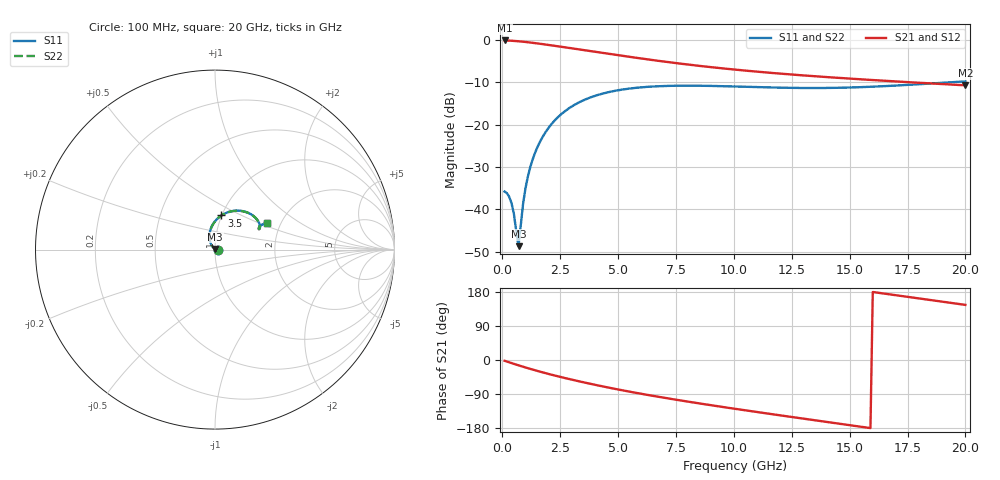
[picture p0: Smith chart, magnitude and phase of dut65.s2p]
! Touchstone file exported from HFSS 2024.1.0
!  File:  C:/UserFiles/LocalFiles/RDL_TSV_Batchsim/temp_RDL_TSV_65_1779410177.aedt
!  Generated:  08:51:31 AM May 22, 2026
!  Design:  RDL_TSV
!  Project:  temp_RDL_TSV_65_1779410177
!  Setup:  Setup1
!  Solution:  Sweep
! Variables:
!  dtsv = 14.71um
!  hbump = 3um
!  htsv = 77.74um
!  ldown = 667.04um
!  lrdl = 220.17um
!  p = 40
!  p1 = 53.14um
!  rhole = 10um
!  subl = 2881.8um
!  t = 450um
!  tdown = 4.12um
!  trdl = 4.66um
!  viad = 10um
!  wdown = 13.02um
!  wrdl = 21.25um
!  xbump = 18um
# GHz S MA R 50.000000
! Terminal data exported
! Port[1] = TM1_1_T1
! Port[2] = TM1_4_T1
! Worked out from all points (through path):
!   200 points, 100 MHz to 20 GHz, reference 50 ohm
!   highest |S21| = -0.15 dB at 100 MHz (marker M1); lowest = -10.7 dB at 20 GHz (marker M2)
!   group delay of S21, straight-line fit = 27.7 ps
!   lowest |S11| = -48.7 dB at 700 MHz (marker M3), VSWR 1.01, Z = 50.2 + j0.337 ohm
!   |S11| at or under -10 dB: start of sweep to 19.4 GHz
!   |S22| runs from -48.6 to -9.8 dB; largest |S21 - S12| = 1.3e-14
!   S11 on the Smith chart (normalised r, x): 100 MHz: 1.03, -0.00; 3.5 GHz: 1.00, +0.39; 20 GHz: 1.70, +0.56
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0.1  0.01626 -0.2  0.9829 -2.1  0.9829 -2.1  0.01626 -0.2
! Gamma 0 0 0 0
! Port Impedance 50 0 50 0
0.3  0.01408 -1.7  0.9785 -6.2  0.9785 -6.2  0.01409 -1.7
0.4  0.01185 -1.6  0.9752 -8.2  0.9752 -8.2  0.01185 -1.6
0.5  0.008915 1.6  0.9713 -10.2  0.9713 -10.2  0.008922 1.6
0.7  0.003693 65.6  0.9617 -14.1  0.9617 -14.1  0.003694 65.4
0.9  0.01176 125.7  0.9502 -17.9  0.9502 -17.9  0.01174 125.7
1  0.01771 128.7  0.9438 -19.8  0.9438 -19.8  0.01768 128.7
1.1  0.02415 128.7  0.9371 -21.6  0.9371 -21.6  0.02412 128.7
1.2  0.03098 127.5  0.9302 -23.4  0.9302 -23.4  0.03093 127.5
1.5  0.053 121.3  0.9083 -28.6  0.9083 -28.6  0.05293 121.3
1.9  0.08403 111.8  0.8778 -35.2  0.8778 -35.2  0.08392 111.8
2.3  0.1148 102.6  0.8471 -41.5  0.8471 -41.5  0.1146 102.6
2.8  0.1506 92.1  0.8094 -49.0  0.8094 -49.0  0.1504 92.1
3.5  0.1935 79.4  0.7584 -58.8  0.7584 -58.8  0.1932 79.3
4.9  0.2515 59.7  0.6653 -76.6  0.6653 -76.6  0.2511 59.6
5.8  0.2722 50.2  0.6131 -87.0  0.6131 -87.0  0.2717 50.1
6.8  0.2842 41.9  0.5626 -97.7  0.5626 -97.7  0.2836 41.9
8.3  0.2879 33.1  0.5006 -112.6  0.5006 -112.6  0.2872 33.1
10.1  0.2814 27.1  0.444 -129.3  0.444 -129.3  0.2805 27.1
13.4  0.2702 25.1  0.3737 -158.2  0.3737 -158.2  0.2692 25.2
16.7  0.2861 27.6  0.3267 173.5  0.3267 173.5  0.2852 27.8
20  0.3235 27.0  0.2908 145.4  0.2908 145.4  0.3228 27.2
